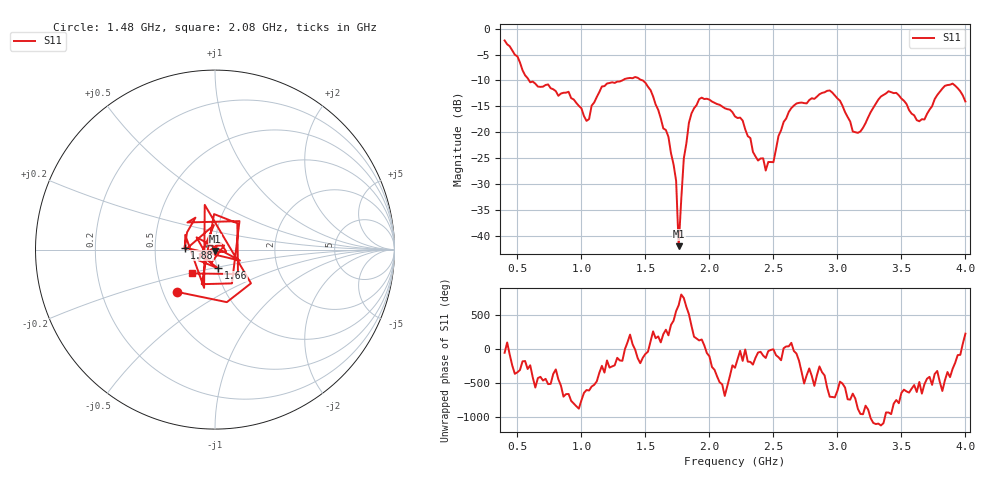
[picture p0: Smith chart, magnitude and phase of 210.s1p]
!Created with skrf (http://scikit-rf.org).
# Hz S RI R 50.0
!freq ReS11 ImS11
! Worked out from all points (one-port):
!   181 points, 400 MHz to 4 GHz, reference 50 ohm
!   lowest |S11| = -42.0 dB at 1.76 GHz (marker M1), VSWR 1.02, Z = 50.1 - j0.788 ohm
!   |S11| at or under -10 dB: 590.8 MHz to 1.32 GHz (728.9 MHz wide, 76.3 % of centre); 1.479 GHz to end of sweep
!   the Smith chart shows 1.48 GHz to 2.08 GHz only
!   S11 on the Smith chart (normalised r, x): 1.48 GHz: 0.59, -0.31; 1.66 GHz: 1.01, -0.21; 1.88 GHz: 0.71, +0.02; 2.08 GHz: 0.75, -0.21
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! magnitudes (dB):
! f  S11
! 400 MHz  -2.3
! 600 MHz  -10.4
! 860 MHz  -12.4
! 1.04 GHz  -17.8
! 1.16 GHz  -11.2
! 1.3 GHz  -10.2
! 1.48 GHz  -10.0
! 1.66 GHz  -19.6
! 1.74 GHz  -29.4
! 1.76 GHz  -42.0
! 1.8 GHz  -25.1
! 1.84 GHz  -18.2
! 1.88 GHz  -15.4
! 1.94 GHz  -13.3
! 2.08 GHz  -14.7
! 2.2 GHz  -17.0
! 2.26 GHz  -17.7
! 2.44 GHz  -27.4
! 2.5 GHz  -25.8
! 2.66 GHz  -14.9
! 2.94 GHz  -11.9
! 3.1 GHz  -17.9
! 3.18 GHz  -19.8
! 3.4 GHz  -12.1
! 3.56 GHz  -15.7
! 3.68 GHz  -17.5
! 3.9 GHz  -10.6
! 4 GHz  -14.1
